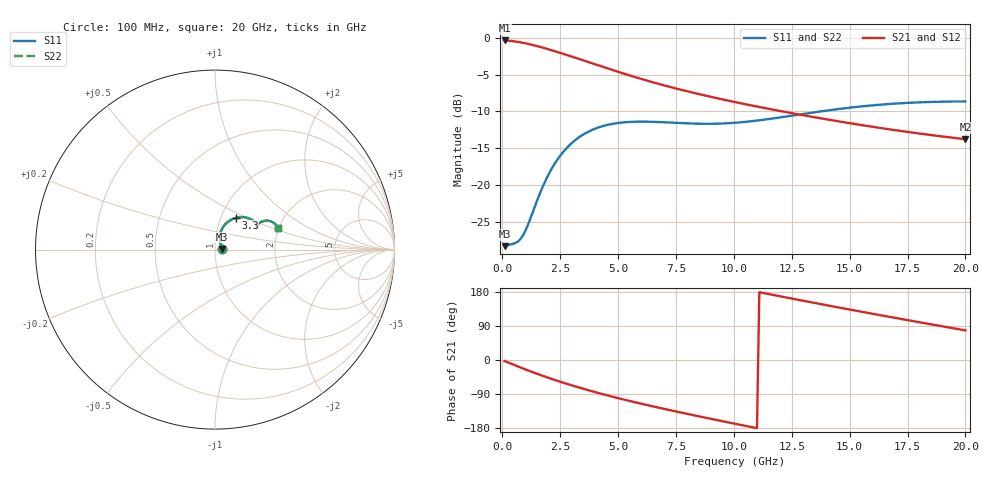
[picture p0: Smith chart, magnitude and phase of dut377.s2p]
! Touchstone file exported from HFSS 2024.1.0
!  File:  C:/UserFiles/LocalFiles/RDL_TSV_Batchsim/temp_RDL_TSV_377_1779644370.aedt
!  Generated:  01:56:32 AM May 25, 2026
!  Design:  RDL_TSV
!  Project:  temp_RDL_TSV_377_1779644370
!  Setup:  Setup1
!  Solution:  Sweep
! Variables:
!  dtsv = 12.1um
!  hbump = 3um
!  htsv = 92.83um
!  ldown = 624.5um
!  lrdl = 494.94um
!  p = 40
!  p1 = 54.52um
!  rhole = 10um
!  subl = 3853.26um
!  t = 450um
!  tdown = 2.1um
!  trdl = 2.18um
!  viad = 10um
!  wdown = 12.23um
!  wrdl = 23.22um
!  xbump = 18um
# GHz S MA R 50.000000
! Terminal data exported
! Port[1] = TM1_1_T1
! Port[2] = TM1_4_T1
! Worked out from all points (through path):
!   200 points, 100 MHz to 20 GHz, reference 50 ohm
!   highest |S21| = -0.34 dB at 100 MHz (marker M1); lowest = -13.8 dB at 20 GHz (marker M2)
!   group delay of S21, straight-line fit = 36.8 ps
!   lowest |S11| = -28.3 dB at 100 MHz (marker M3), VSWR 1.08, Z = 54 + j0.374 ohm
!   |S11| at or under -10 dB: start of sweep to 13.73 GHz
!   |S22| runs from -28.3 to -8.7 dB; largest |S21 - S12| = 1e-14
!   S11 on the Smith chart (normalised r, x): 100 MHz: 1.08, +0.01; 3.3 GHz: 1.17, +0.43; 20 GHz: 1.97, +0.56
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0.1  0.03842 5.2  0.9611 -2.6  0.9611 -2.6  0.03842 5.2
! Gamma 0 0 0 0
! Port Impedance 50 0 50 0
0.4  0.03964 19.7  0.953 -10.3  0.953 -10.3  0.03964 19.7
0.8  0.0432 42.1  0.9325 -20.1  0.9325 -20.1  0.04321 42.0
1.1  0.05326 58.7  0.9121 -27.3  0.9121 -27.3  0.05325 58.6
1.6  0.08579 71.3  0.872 -38.6  0.872 -38.6  0.0857 71.2
2  0.1182 71.6  0.837 -47.1  0.837 -47.1  0.118 71.5
2.4  0.1504 68.2  0.8009 -55.3  0.8009 -55.3  0.1502 68.1
2.8  0.1798 63.4  0.7648 -63.1  0.7648 -63.1  0.1795 63.3
3.3  0.2105 57.0  0.7205 -72.4  0.7205 -72.4  0.2102 56.9
3.5  0.2208 54.4  0.7033 -76.0  0.7033 -76.0  0.2204 54.4
4.3  0.2505 45.2  0.6386 -89.6  0.6386 -89.6  0.25 45.2
5.1  0.2653 37.9  0.5815 -102.2  0.5815 -102.2  0.2648 37.8
5.9  0.2697 32.5  0.532 -113.9  0.532 -113.9  0.2692 32.5
6.8  0.2679 28.7  0.4848 -126.5  0.4848 -126.5  0.2674 28.6
8.3  0.2615 26.8  0.4221 -146.3  0.4221 -146.3  0.261 26.8
10.1  0.2654 28.8  0.365 -168.9  0.365 -168.9  0.2649 28.8
11.8  0.2851 30.7  0.323 170.5  0.323 170.5  0.2846 30.7
13.4  0.3109 30.6  0.2905 151.6  0.2905 151.6  0.3104 30.5
15  0.3356 28.6  0.2633 133.1  0.2633 133.1  0.3351 28.6
16.7  0.3554 25.5  0.2394 114.1  0.2394 114.1  0.3548 25.5
18.3  0.3663 22.4  0.2209 96.5  0.2209 96.5  0.3655 22.3
20  0.3701 19.3  0.2048 78.1  0.2048 78.1  0.3692 19.2
